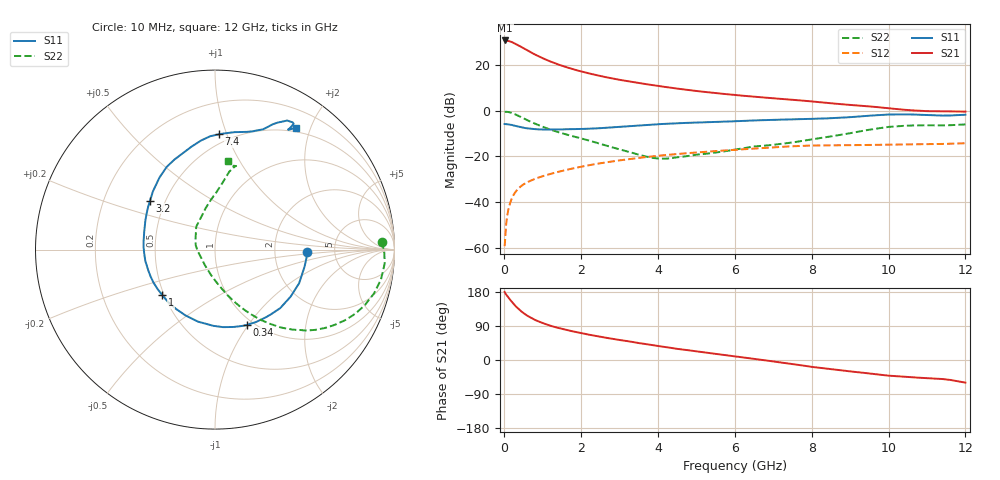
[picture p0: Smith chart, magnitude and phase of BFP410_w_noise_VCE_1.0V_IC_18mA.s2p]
! Infineon Technologies  Discrete & RF Semiconductors
! BFP410
! VCE =  1.0 V,  IC =  18 mA
! Common Emitter S-Parameters:  Nov 2015
# GHz  S  MA  R  50
!  f  S11  S21  S12  S22
! GHz  MAG  ANG  MAG  ANG  MAG  ANG  MAG  ANG
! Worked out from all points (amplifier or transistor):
!   243 points, 10 MHz to 12 GHz, reference 50 ohm
!   highest |S21| = 30.7 dB at 20 MHz (marker M1)
!   |S21| within 3 dB of that: start of sweep to 460.8 MHz
!   unconditionally stable (mu >= 1): start of sweep to 16.26 MHz; 1.791 GHz to end of sweep
!   at 240 MHz: K = 0.28, MSG = 33.3 dB, |S12| = -36.9 dB
!   at 1.84 GHz: K = 1.01, MAG = 20.8 dB, |S12| = -25.0 dB
!   at 12 GHz: K = 1.01, MAG = 6.3 dB, |S12| = -14.2 dB
!   lowest NFmin = 1.63 dB at 900 MHz
!   S11 on the Smith chart (normalised r, x): 10 MHz: 3.09, -0.09; 340 MHz: 0.93, -0.98; 1 GHz: 0.49, -0.29; 3.2 GHz: 0.41, +0.28; 7.4 GHz: 0.43, +0.94; 12 GHz: 0.44, +1.78
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0.01  0.511 -1.2  33.79 179.6  0.0011 111.5  0.9315 2.7
0.02  0.5123 -4.6  34.15 177.1  0.0014 88.3  0.9434 -1.1
0.1  0.5049 -21.8  33.49 166.2  0.0065 81.5  0.9398 -10.2
0.15  0.496 -32.0  32.56 159.4  0.0094 78.1  0.919 -15.4
0.195  0.4883 -40.9  31.55 153.8  0.012 75.0  0.8932 -19.8
0.26  0.4715 -53.3  29.76 146.1  0.0153 70.9  0.851 -25.5
0.34  0.4554 -67.3  27.56 137.8  0.0189 66.9  0.7933 -31.6
0.45  0.4344 -84.0  24.47 127.8  0.0229 62.8  0.7153 -38.7
0.6  0.4124 -103.3  20.72 116.8  0.0274 59.0  0.6195 -46.0
0.8  0.3955 -123.3  16.83 105.9  0.0325 56.3  0.5206 -53.0
1  0.3883 -139.3  13.98 97.4  0.037 54.9  0.4443 -58.5
1.2  0.3888 -151.7  11.88 90.5  0.0415 53.9  0.3865 -63.0
1.4  0.3896 -161.8  10.24 84.8  0.046 53.2  0.3405 -66.8
2.02  0.3997 174.5  7.13 70.6  0.0602 50.3  0.2458 -76.6
2.6  0.4209 157.1  5.486 59.5  0.0732 46.3  0.178 -88.3
3.2  0.4531 143.0  4.427 49.9  0.0865 41.7  0.1277 -105.5
4.1  0.5116 126.1  3.377 35.5  0.1056 34.2  0.0895 -150.5
6.1  0.5926 101.8  2.163 8.3  0.1416 16.9  0.1455 137.0
7.4  0.6427 88.1  1.761 -9.3  0.1655 4.3  0.1974 112.5
8.2  0.6706 77.6  1.535 -20.5  0.174 -5.0  0.2506 99.7
10.2  0.8271 59.7  1.088 -42.7  0.1813 -21.1  0.4542 78.5
12  0.8156 56.5  0.955 -59.7  0.1949 -35.5  0.5013 81.8
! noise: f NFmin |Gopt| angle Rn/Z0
0.45  1.66  0.11  -153  0.17
0.9  1.63  0.12  -155  0.16
1.8  1.76  0.16  -140  0.17
2.4  1.75  0.21  -123  0.24
5.5  2.63  0.42  -104  0.39
10  3.74  0.69  -46  2.37
